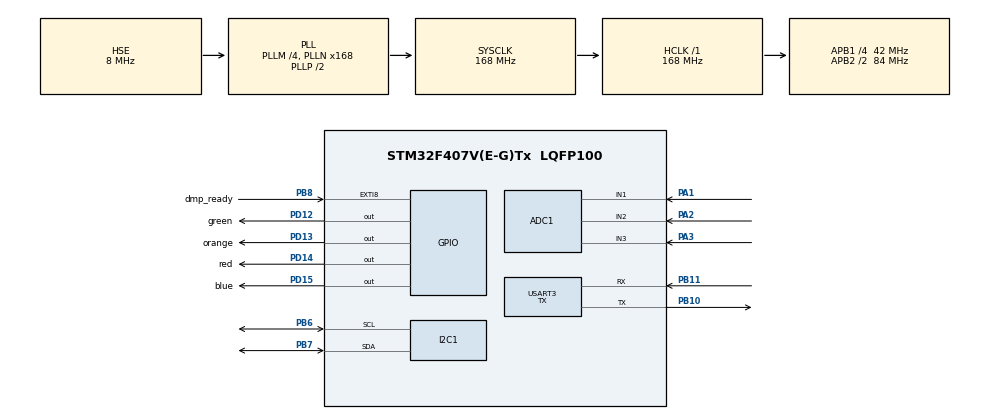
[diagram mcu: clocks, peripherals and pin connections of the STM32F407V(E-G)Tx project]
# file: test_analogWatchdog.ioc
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ADC1.Channel-1\#ChannelRegularConversion=ADC_CHANNEL_1
ADC1.Channel-2\#ChannelRegularConversion=ADC_CHANNEL_2
ADC1.Channel-3\#ChannelRegularConversion=ADC_CHANNEL_3
ADC1.ContinuousConvMode=ENABLE
ADC1.EOCSelection=ADC_EOC_SEQ_CONV
ADC1.EnableAnalogWatchDog=true
ADC1.HighThreshold=4000
ADC1.ITMode=ENABLE
ADC1.NbrOfConversion=3
ADC1.NbrOfConversionFlag=1
ADC1.Rank-1\#ChannelRegularConversion=1
ADC1.Rank-2\#ChannelRegularConversion=2
ADC1.Rank-3\#ChannelRegularConversion=3
ADC1.SamplingTime-1\#ChannelRegularConversion=ADC_SAMPLETIME_3CYCLES
ADC1.SamplingTime-2\#ChannelRegularConversion=ADC_SAMPLETIME_3CYCLES
ADC1.SamplingTime-3\#ChannelRegularConversion=ADC_SAMPLETIME_3CYCLES
ADC1.ScanConvMode=ENABLE
ADC1.WatchdogChannel=ADC_CHANNEL_1
ADC1.master=1
I2C1.GeneralCallMode=I2C_GENERALCALL_DISABLE
I2C1.I2C_Mode=I2C_Fast
I2C1.NoStretchMode=I2C_NOSTRETCH_DISABLE
I2C1.OwnAddress=0
Mcu.Family=STM32F4
Mcu.Name=STM32F407V(E-G)Tx
Mcu.Package=LQFP100
NVIC.ADC_IRQn=true\:0\:0\:false\:false\:true\:true\:true\:true
NVIC.EXTI9_5_IRQn=true\:0\:0\:false\:false\:true\:true\:true\:true
NVIC.PriorityGroup=NVIC_PRIORITYGROUP_4
PA1.Signal=ADCx_IN1
PA2.Signal=ADCx_IN2
PA3.Signal=ADCx_IN3
PB10.Mode=Asynchronous
PB10.Signal=USART3_TX
PB11.Mode=Asynchronous
PB11.Signal=USART3_RX
PB6.Mode=I2C
PB6.Signal=I2C1_SCL
PB7.Mode=I2C
PB7.Signal=I2C1_SDA
PB8.GPIO_Label=dmp_ready
PB8.GPIO_PuPd=GPIO_PULLDOWN
PB8.Signal=GPXTI8
PD12.GPIO_Label=green
PD12.PinState=GPIO_PIN_SET
PD12.Signal=GPIO_Output
PD13.GPIO_Label=orange
PD13.PinState=GPIO_PIN_SET
PD13.Signal=GPIO_Output
PD14.GPIO_Label=red
PD14.PinState=GPIO_PIN_SET
PD14.Signal=GPIO_Output
PD15.GPIO_Label=blue
PD15.PinState=GPIO_PIN_SET
PD15.Signal=GPIO_Output
PH0-OSC_IN.Mode=HSE-External-Oscillator
PH0-OSC_IN.Signal=RCC_OSC_IN
PH1-OSC_OUT.Mode=HSE-External-Oscillator
PH1-OSC_OUT.Signal=RCC_OSC_OUT
ProjectManager.HeapSize=0x200
ProjectManager.StackSize=0x400
ProjectManager.TargetToolchain=STM32CubeIDE
RCC.48MHZClocksFreq_Value=84000000
RCC.AHBFreq_Value=168000000
RCC.APB1CLKDivider=RCC_HCLK_DIV4
RCC.APB1Freq_Value=42000000
RCC.APB1TimFreq_Value=84000000
RCC.APB2CLKDivider=RCC_HCLK_DIV2
RCC.APB2Freq_Value=84000000
RCC.APB2TimFreq_Value=168000000
RCC.CortexFreq_Value=168000000
RCC.HCLKFreq_Value=168000000
RCC.HSE_VALUE=8000000
RCC.HSI_VALUE=16000000
RCC.LSE_VALUE=32768
RCC.PLLM=4
RCC.PLLN=168
RCC.PLLSourceVirtual=RCC_PLLSOURCE_HSE
RCC.SYSCLKFreq_VALUE=168000000
RCC.SYSCLKSource=RCC_SYSCLKSOURCE_PLLCLK
RCC.VCOOutputFreq_Value=336000000
SH.ADCx_IN1.0=ADC1_IN1,IN1
SH.ADCx_IN2.0=ADC1_IN2,IN2
SH.ADCx_IN3.0=ADC1_IN3,IN3
USART3.Mode=MODE_TX
USART3.VirtualMode=VM_ASYNC
board=custom

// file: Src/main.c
/* USER CODE BEGIN Header */
/**
  ******************************************************************************
  * @file           : main.c
  * @brief          : Main program body
  ******************************************************************************
  * @attention
  *
  * Copyright (c) 2024 STMicroelectronics.
  * All rights reserved.
  *
  * This software is licensed under terms that can be found in the LICENSE file
  * in the root directory of this software component.
  * If no LICENSE file comes with this software, it is provided AS-IS.
  *
  ******************************************************************************
  */
/* USER CODE END Header */
#include "main.h"

/* USER CODE BEGIN Includes */
#include "MPU6050.h"
#include <stdio.h>
int __io_putchar(int ch);
/* USER CODE END Includes */

ADC_HandleTypeDef hadc1;

I2C_HandleTypeDef hi2c1;

UART_HandleTypeDef huart3;

void SystemClock_Config(void);
static void MX_GPIO_Init(void);
static void MX_ADC1_Init(void);
static void MX_I2C1_Init(void);
static void MX_USART3_UART_Init(void);

/* USER CODE BEGIN 0 */

  uint8_t adc_code[1000];
  uint16_t adc_data[1000];
  uint32_t ADC_SR_REG[1000];
  uint32_t ADC_CR2_REG[1000];

int inc_adc_test = 0;
#define set_test_adc(x,y,z,w)                  \
if(inc_adc_test < 1000)                    \
   {                                       \
    adc_code[inc_adc_test] = x;   \
    adc_data[inc_adc_test] = y;   \
    ADC_SR_REG[inc_adc_test] = z; \
    ADC_CR2_REG[inc_adc_test] = w;  \
    inc_adc_test++;                        \
   }                                       \

bool blinkState = false;
#ifdef MPU6050_INCLUDE_DMP_MOTIONAPPS20
// MPU control/status vars
bool dmpReady = false;  // set true if DMP init was successful
uint8_t mpuIntStatus;   // holds actual interrupt status byte from MPU
uint8_t devStatus;      // return status after each device operation (0 = success, !0 = error)
uint16_t packetSize;    // expected DMP packet size (default is 42 bytes)
uint16_t fifoCount;     // count of all bytes currently in FIFO
uint8_t fifoBuffer[64]; // FIFO storage buffer
// orientation/motion vars
Quaternion q;           // [w, x, y, z]         quaternion container
VectorInt16 aa;         // [x, y, z]            accel sensor measurements
VectorInt16 aaReal;     // [x, y, z]            gravity-free accel sensor measurements
VectorInt16 aaWorld;    // [x, y, z]            world-frame accel sensor measurements
VectorFloat gravity;    // [x, y, z]            gravity vector
float euler[3];         // [psi, theta, phi]    Euler angle container
float ypr[3];           // [yaw, pitch, roll]   yaw/pitch/roll container and gravity vector

// packet structure for InvenSense teapot demo
uint8_t teapotPacket[14] = { '$', 0x02, 0,0, 0,0, 0,0, 0,0, 0x00, 0x00, '\r', '\n' };
#endif
/* USER CODE END 0 */

int main(void)
{

  /* MCU Configuration--------------------------------------------------------*/

  /* Reset of all peripherals, Initializes the Flash interface and the Systick. */
  HAL_Init();

  /* Configure the system clock */
  SystemClock_Config();

  /* USER CODE BEGIN SysInit */
  setvbuf(stdin, NULL, _IONBF, 0);
  setvbuf(stdout, NULL, _IONBF, 0);
  setvbuf(stderr, NULL, _IONBF, 0);
  /* USER CODE END SysInit */

  /* Initialize all configured peripherals */
  MX_GPIO_Init();
  MX_ADC1_Init();
  MX_I2C1_Init();
  MX_USART3_UART_Init();

  /* Infinite loop */
  /* USER CODE BEGIN WHILE */
  uint32_t channels[3] = {ADC_CHANNEL_1,ADC_CHANNEL_2,ADC_CHANNEL_3};
  int i = 0;
  I2Cdev_init(&hi2c1);
  MPU6050_initialize();
  if(MPU6050_testConnection() == true)
      { printf("MPU6050 connection successful\n");}
  else
      { printf("MPU6050 connection failed\n");}
  printf("Initializing DMP...\n");
    //devStatus = MPU6050_dmpInitialize();

    //printf("%d %d %d %d %d %d\n",MPU6050_getXAccelOffset(),MPU6050_getYAccelOffset(),MPU6050_getZAccelOffset(),MPU6050_getXGyroOffset(),MPU6050_getYGyroOffset(),MPU6050_getZGyroOffset());

int16_t ax, ay, az;
int16_t gx, gy, gz;
  while (1)
  {
        /*
        переключение каналов для мониторинга analogwatchdog
        таким способом в прерывании можно определить на каком канале сработал watchdog
        */
        hadc1.Instance->CR1 &= ~ADC_CR1_AWDCH;
        hadc1.Instance->CR1 |= (uint32_t)((uint16_t)(channels[i]));
        if(i < 2)
            {i++;}
        else
            {i = 0;}

        MPU6050_getMotion6(&ax, &ay, &az, &gx, &gy, &gz);
        printf("%d %d %d %d %d %d\n",ax, ay, az,gx, gy, gz);
        HAL_Delay(100);
    /* USER CODE END WHILE */

  }
}

void SystemClock_Config(void)
{
  RCC_OscInitTypeDef RCC_OscInitStruct = {0};
  RCC_ClkInitTypeDef RCC_ClkInitStruct = {0};

  /** Configure the main internal regulator output voltage
  */
  __HAL_RCC_PWR_CLK_ENABLE();
  __HAL_PWR_VOLTAGESCALING_CONFIG(PWR_REGULATOR_VOLTAGE_SCALE1);

  /** Initializes the RCC Oscillators according to the specified parameters
  * in the RCC_OscInitTypeDef structure.
  */
  RCC_OscInitStruct.OscillatorType = RCC_OSCILLATORTYPE_HSE;
  RCC_OscInitStruct.HSEState = RCC_HSE_ON;
  RCC_OscInitStruct.PLL.PLLState = RCC_PLL_ON;
  RCC_OscInitStruct.PLL.PLLSource = RCC_PLLSOURCE_HSE;
  RCC_OscInitStruct.PLL.PLLM = 4;
  RCC_OscInitStruct.PLL.PLLN = 168;
  RCC_OscInitStruct.PLL.PLLP = RCC_PLLP_DIV2;
  RCC_OscInitStruct.PLL.PLLQ = 4;
  if (HAL_RCC_OscConfig(&RCC_OscInitStruct) != HAL_OK)
  {
    Error_Handler();
  }

  /** Initializes the CPU, AHB and APB buses clocks
  */
  RCC_ClkInitStruct.ClockType = RCC_CLOCKTYPE_HCLK|RCC_CLOCKTYPE_SYSCLK
                              |RCC_CLOCKTYPE_PCLK1|RCC_CLOCKTYPE_PCLK2;
  RCC_ClkInitStruct.SYSCLKSource = RCC_SYSCLKSOURCE_PLLCLK;
  RCC_ClkInitStruct.AHBCLKDivider = RCC_SYSCLK_DIV1;
  RCC_ClkInitStruct.APB1CLKDivider = RCC_HCLK_DIV4;
  RCC_ClkInitStruct.APB2CLKDivider = RCC_HCLK_DIV2;

  if (HAL_RCC_ClockConfig(&RCC_ClkInitStruct, FLASH_LATENCY_5) != HAL_OK)
  {
    Error_Handler();
  }
}

static void MX_ADC1_Init(void)
{

  ADC_AnalogWDGConfTypeDef AnalogWDGConfig = {0};
  ADC_ChannelConfTypeDef sConfig = {0};

  /** Configure the global features of the ADC (Clock, Resolution, Data Alignment and number of conversion)
  */
  hadc1.Instance = ADC1;
  hadc1.Init.ClockPrescaler = ADC_CLOCK_SYNC_PCLK_DIV4;
  hadc1.Init.Resolution = ADC_RESOLUTION_12B;
  hadc1.Init.ScanConvMode = ENABLE;
  hadc1.Init.ContinuousConvMode = ENABLE;
  hadc1.Init.DiscontinuousConvMode = DISABLE;
  hadc1.Init.ExternalTrigConvEdge = ADC_EXTERNALTRIGCONVEDGE_NONE;
  hadc1.Init.ExternalTrigConv = ADC_SOFTWARE_START;
  hadc1.Init.DataAlign = ADC_DATAALIGN_RIGHT;
  hadc1.Init.NbrOfConversion = 3;
  hadc1.Init.DMAContinuousRequests = DISABLE;
  hadc1.Init.EOCSelection = ADC_EOC_SEQ_CONV;
  if (HAL_ADC_Init(&hadc1) != HAL_OK)
  {
    Error_Handler();
  }

  /** Configure the analog watchdog
  */
  AnalogWDGConfig.WatchdogMode = ADC_ANALOGWATCHDOG_SINGLE_REG;
  AnalogWDGConfig.HighThreshold = 4000;
  AnalogWDGConfig.LowThreshold = 0;
  AnalogWDGConfig.Channel = ADC_CHANNEL_1;
  AnalogWDGConfig.ITMode = ENABLE;
  if (HAL_ADC_AnalogWDGConfig(&hadc1, &AnalogWDGConfig) != HAL_OK)
  {
    Error_Handler();
  }

  /** Configure for the selected ADC regular channel its corresponding rank in the sequencer and its sample time.
  */
  sConfig.Channel = ADC_CHANNEL_1;
  sConfig.Rank = 1;
  sConfig.SamplingTime = ADC_SAMPLETIME_3CYCLES;
  if (HAL_ADC_ConfigChannel(&hadc1, &sConfig) != HAL_OK)
  {
    Error_Handler();
  }

  /** Configure for the selected ADC regular channel its corresponding rank in the sequencer and its sample time.
  */
  sConfig.Channel = ADC_CHANNEL_2;
  sConfig.Rank = 2;
  if (HAL_ADC_ConfigChannel(&hadc1, &sConfig) != HAL_OK)
  {
    Error_Handler();
  }

  /** Configure for the selected ADC regular channel its corresponding rank in the sequencer and its sample time.
  */
  sConfig.Channel = ADC_CHANNEL_3;
  sConfig.Rank = 3;
  if (HAL_ADC_ConfigChannel(&hadc1, &sConfig) != HAL_OK)
  {
    Error_Handler();
  }
  /* USER CODE BEGIN ADC1_Init 2 */
  HAL_ADC_Start(&hadc1);
  /* USER CODE END ADC1_Init 2 */

}

static void MX_I2C1_Init(void)
{

  hi2c1.Instance = I2C1;
  hi2c1.Init.ClockSpeed = 400000;
  hi2c1.Init.DutyCycle = I2C_DUTYCYCLE_2;
  hi2c1.Init.OwnAddress1 = 0;
  hi2c1.Init.AddressingMode = I2C_ADDRESSINGMODE_7BIT;
  hi2c1.Init.DualAddressMode = I2C_DUALADDRESS_DISABLE;
  hi2c1.Init.OwnAddress2 = 0;
  hi2c1.Init.GeneralCallMode = I2C_GENERALCALL_DISABLE;
  hi2c1.Init.NoStretchMode = I2C_NOSTRETCH_DISABLE;
  if (HAL_I2C_Init(&hi2c1) != HAL_OK)
  {
    Error_Handler();
  }

}

static void MX_USART3_UART_Init(void)
{

  huart3.Instance = USART3;
  huart3.Init.BaudRate = 115200;
  huart3.Init.WordLength = UART_WORDLENGTH_8B;
  huart3.Init.StopBits = UART_STOPBITS_1;
  huart3.Init.Parity = UART_PARITY_NONE;
  huart3.Init.Mode = UART_MODE_TX;
  huart3.Init.HwFlowCtl = UART_HWCONTROL_NONE;
  huart3.Init.OverSampling = UART_OVERSAMPLING_16;
  if (HAL_UART_Init(&huart3) != HAL_OK)
  {
    Error_Handler();
  }

}

static void MX_GPIO_Init(void)
{
  GPIO_InitTypeDef GPIO_InitStruct = {0};

  /* GPIO Ports Clock Enable */
  __HAL_RCC_GPIOH_CLK_ENABLE();
  __HAL_RCC_GPIOA_CLK_ENABLE();
  __HAL_RCC_GPIOB_CLK_ENABLE();
  __HAL_RCC_GPIOD_CLK_ENABLE();

  /*Configure GPIO pin Output Level */
  HAL_GPIO_WritePin(GPIOD, green_Pin|orange_Pin|red_Pin|blue_Pin, GPIO_PIN_SET);

  /*Configure GPIO pins : green_Pin orange_Pin red_Pin blue_Pin */
  GPIO_InitStruct.Pin = green_Pin|orange_Pin|red_Pin|blue_Pin;
  GPIO_InitStruct.Mode = GPIO_MODE_OUTPUT_PP;
  GPIO_InitStruct.Pull = GPIO_NOPULL;
  GPIO_InitStruct.Speed = GPIO_SPEED_FREQ_LOW;
  HAL_GPIO_Init(GPIOD, &GPIO_InitStruct);

  /*Configure GPIO pin : dmp_ready_Pin */
  GPIO_InitStruct.Pin = dmp_ready_Pin;
  GPIO_InitStruct.Mode = GPIO_MODE_IT_RISING;
  GPIO_InitStruct.Pull = GPIO_PULLDOWN;
  HAL_GPIO_Init(dmp_ready_GPIO_Port, &GPIO_InitStruct);

  /* EXTI interrupt init*/
  HAL_NVIC_SetPriority(EXTI9_5_IRQn, 0, 0);
  HAL_NVIC_EnableIRQ(EXTI9_5_IRQn);

}

/* USER CODE BEGIN 4 */
uint32_t time_stamp = 0;
void HAL_ADC_LevelOutOfWindowCallback(ADC_HandleTypeDef *hadc)
{
  __asm("nop");
  HAL_GPIO_WritePin(GPIOD, green_Pin, GPIO_PIN_RESET);
  set_test_adc('g',HAL_ADC_GetValue(hadc),hadc->Instance->SR,hadc->Instance->CR2);
   time_stamp++;
}
void HAL_ADC_ErrorCallback(ADC_HandleTypeDef *hadc)
{
  HAL_GPIO_WritePin(GPIOD, red_Pin, GPIO_PIN_RESET);
  __asm("nop");
  set_test_adc('r',HAL_ADC_GetValue(hadc),hadc->Instance->SR,hadc->Instance->CR2);
}
void HAL_ADCEx_InjectedConvCpltCallback(ADC_HandleTypeDef *hadc)
{
  HAL_GPIO_WritePin(GPIOD, orange_Pin, GPIO_PIN_RESET);
  __asm("nop");
  set_test_adc('o',HAL_ADC_GetValue(hadc),hadc->Instance->SR,hadc->Instance->CR2);
}

void HAL_ADC_ConvCpltCallback(ADC_HandleTypeDef *hadc)
{
  HAL_GPIO_WritePin(GPIOD, blue_Pin, GPIO_PIN_RESET);
  __asm("nop");
  set_test_adc('b',HAL_ADC_GetValue(hadc),hadc->Instance->SR,hadc->Instance->CR2);
}
void HAL_GPIO_EXTI_Callback(uint16_t GPIO_Pin)
{
    HAL_GPIO_WritePin(GPIOD, blue_Pin, GPIO_PIN_RESET);
}
int __io_putchar(int ch)
{
  HAL_UART_Transmit(&huart3, (uint8_t *)&ch, 1, 10);
  return ch;
}
/* USER CODE END 4 */

void Error_Handler(void)
{
  __disable_irq();
  while (1)
  {
  }
}
